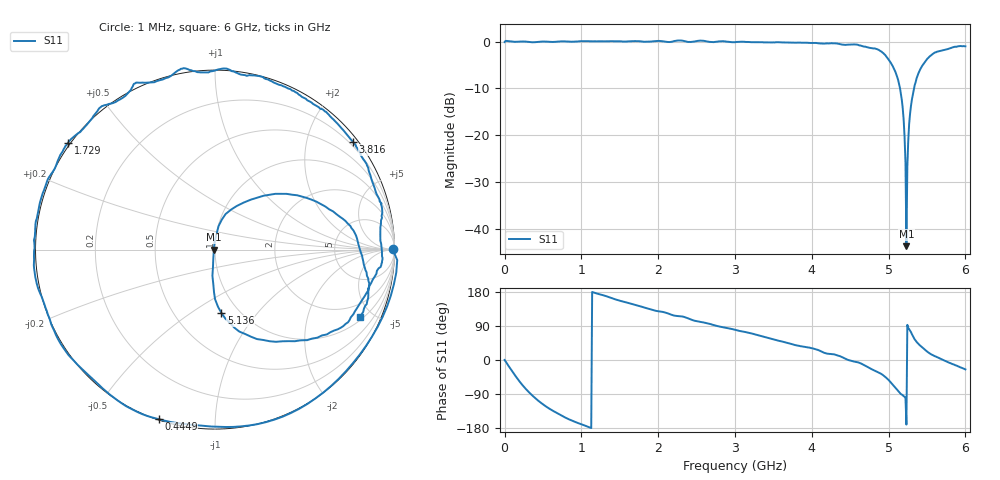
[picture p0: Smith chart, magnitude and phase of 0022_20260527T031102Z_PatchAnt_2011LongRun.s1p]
# Hz S RI R 50
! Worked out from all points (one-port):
!   501 points, 1 MHz to 6 GHz, reference 50 ohm
!   lowest |S11| = -43.8 dB at 5.232 GHz (marker M1), VSWR 1.01, Z = 49.4 - j0.107 ohm
!   |S11| at or under -10 dB: 5.149 GHz to 5.332 GHz (182.6 MHz wide, 3.48 % of centre)
!   S11 on the Smith chart (normalised r, x): 1 MHz: open; 444.9 MHz: 0.00, -0.72; 1.729 GHz: -0.01, +0.32; 3.816 GHz: 0.12, +2.91; 5.136 GHz: 0.83, -0.67; 6 GHz: 1.17, -4.23
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1000000  0.99 0.00114
8.4986e7  0.9059 -0.431
2.16964e8  0.4682 -0.8874
3.0095e8  0.1458 -0.9849
4.44926e8  -0.3142 -0.9448
7.56874e8  -0.8561 -0.5306
1.056824e9  -1.007 -0.1072
1.50075e9  -0.925 0.4033
1.728712e9  -0.8193 0.5952
2.256624e9  -0.4517 0.9237
3.0005e9  0.1768 0.9681
3.756374e9  0.7366 0.6387
3.816364e9  0.7688 0.5991
4.308282e9  0.931 0.2281
4.50025e9  0.9305 -0.0225
4.86019e9  0.6997 -0.4359
5.028162e9  0.3057 -0.5108
5.136144e9  0.0349 -0.3516
5.184136e9  -0.00935 -0.1938
5.196134e9  -0.0144 -0.1459
5.208132e9  -0.0112 -0.0951
5.232128e9  -0.0064 -0.00108
5.256124e9  0.00831 0.0871
5.268122e9  0.0202 0.1317
5.292118e9  0.0592 0.1983
5.412098e9  0.399 0.3106
5.628062e9  0.7721 0.1055
6e9  0.8078 -0.3744
